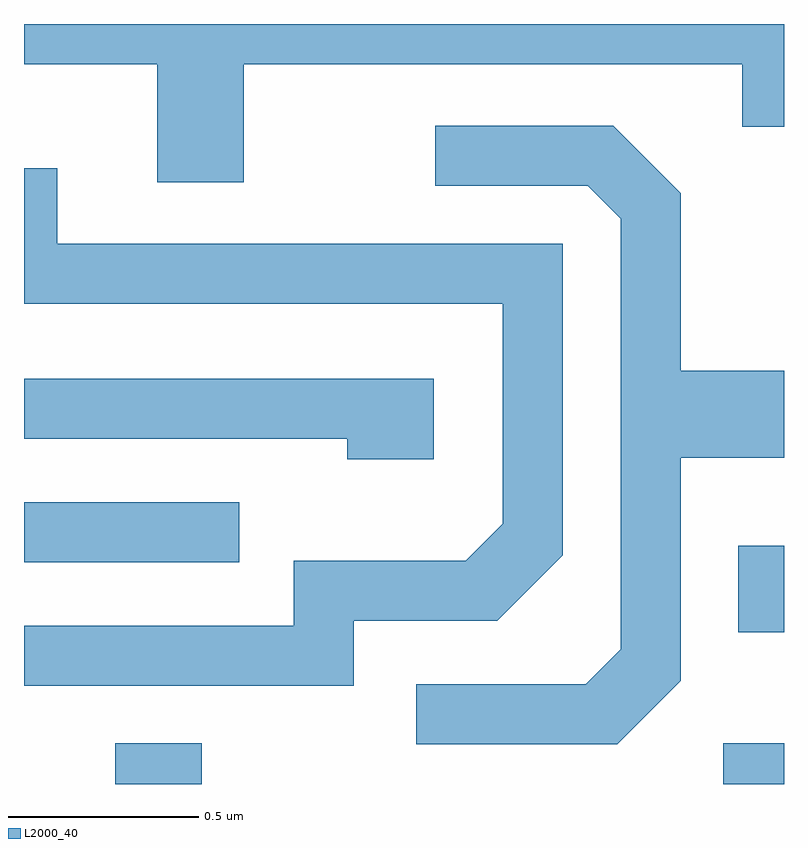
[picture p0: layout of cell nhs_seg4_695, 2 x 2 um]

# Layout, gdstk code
import gdstk
lib = gdstk.Library(unit=1e-6, precision=1e-09)
def R(c, l, rs):  # rectangles x0, y0, x1, y1
    for r in rs: c.add(gdstk.rectangle(r[:2], r[2:], *l))
def P(c, l, *ps):  # polygons
    for p in ps: c.add(gdstk.Polygon(p, *l))
L2000_40 = (2000, 40)

nhs_seg4_695 = lib.new_cell('nhs_seg4_695')
R(nhs_seg4_695, L2000_40, [(190.851,1263.982,191.079,1264.089), (192.451,1263.982,192.611,1264.089), (192.491,1264.381,192.611,1264.609), (190.611,1264.566,191.178,1264.724)])
P(nhs_seg4_695, L2000_40, [(191.189,1265.876),(192.501,1265.876),(192.501,1265.711),(192.611,1265.711),(192.611,1265.982),(190.611,1265.982),(190.611,1265.876),(190.961,1265.876),(190.961,1265.566),(191.189,1265.566)],
  [(192.339,1264.254),(192.339,1264.841),(192.611,1264.841),(192.611,1265.069),(192.339,1265.069),(192.339,1265.537),(192.162,1265.714),(191.693,1265.714),(191.693,1265.556),(192.094,1265.556),(192.181,1265.469),(192.181,1264.337),(192.089,1264.244),(191.643,1264.244),(191.643,1264.086),(192.172,1264.086)],
  [(191.479,1264.411),(191.857,1264.411),(192.029,1264.584),(192.029,1265.404),(190.699,1265.404),(190.699,1265.603),(190.611,1265.603),(190.611,1265.246),(191.871,1265.246),(191.871,1264.667),(191.774,1264.569),(191.321,1264.569),(191.321,1264.399),(190.611,1264.399),(190.611,1264.241),(191.479,1264.241)],
  [(191.689,1265.049),(190.611,1265.049),(190.611,1264.891),(191.461,1264.891),(191.461,1264.836),(191.689,1264.836)])

lib.write_gds('nhs_seg4_695.gds')
